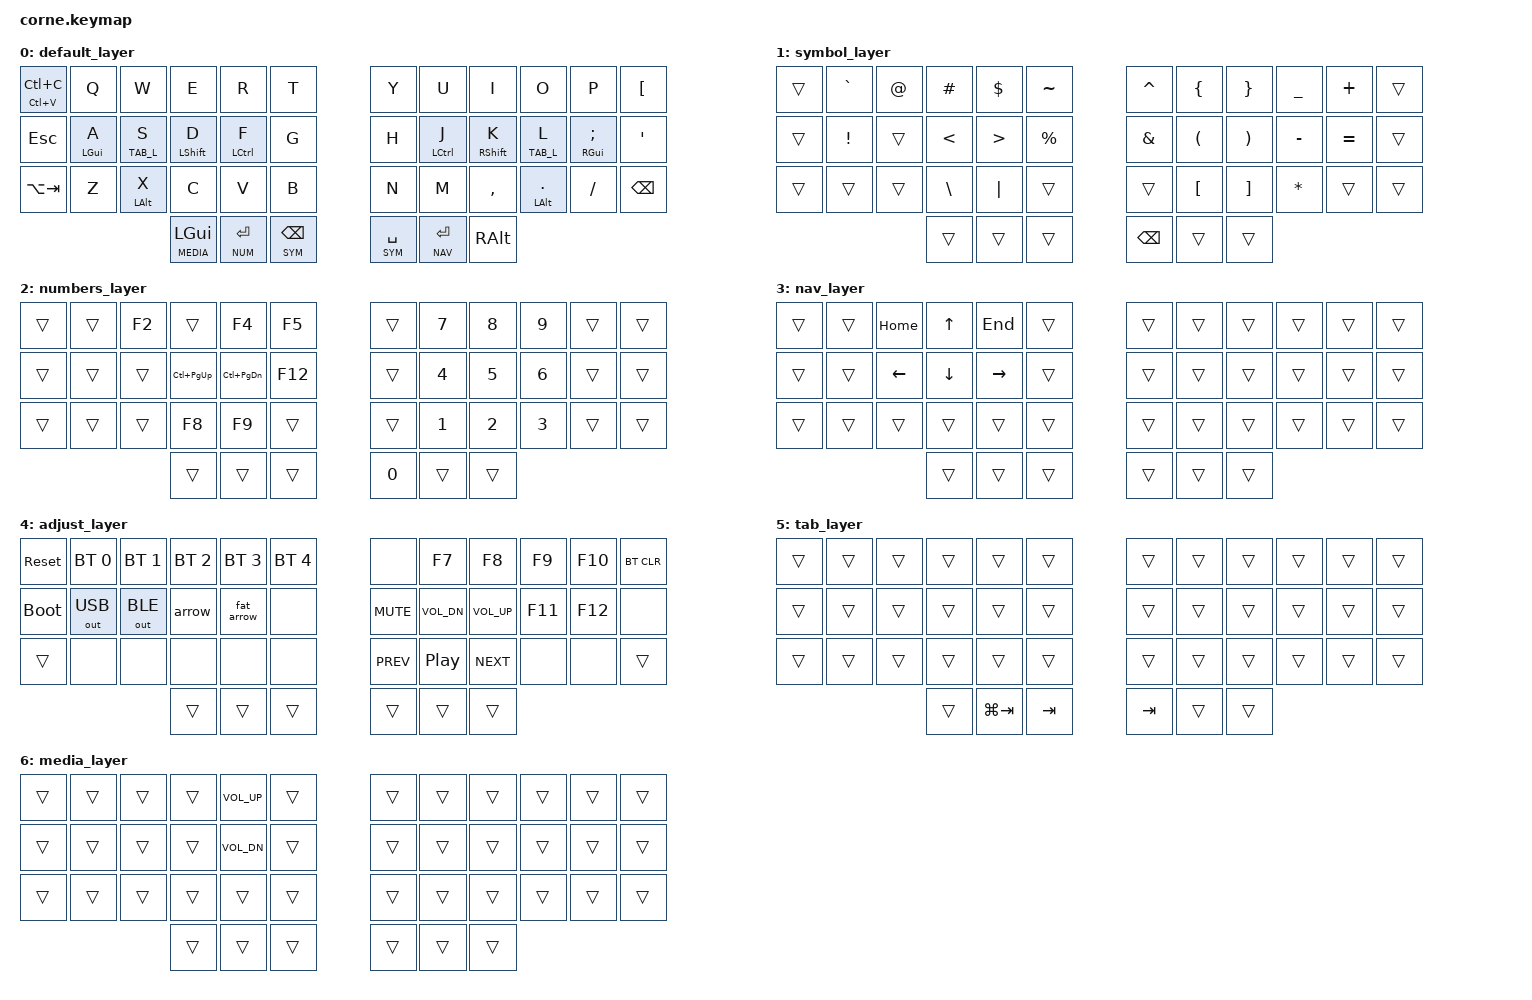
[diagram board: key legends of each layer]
/*
 * Copyright (c) 2026 Your Name
 *
 * SPDX-License-Identifier: MIT
 */

#include <behaviors.dtsi>
#include <dt-bindings/zmk/keys.h>
#include <dt-bindings/zmk/bt.h>
#include <dt-bindings/zmk/outputs.h>

// Layer definitions
#define DEF 0
#define SYM 1
#define NUM 2
#define NAV 3
#define ADJ 4
#define TAB_L 5
#define MEDIA 6

// Key positions reference (Corne, 42 keys):
//
//  0  1  2  3  4  5      6  7  8  9 10 11
// 12 13 14 15 16 17     18 19 20 21 22 23
// 24 25 26 27 28 29     30 31 32 33 34 35
//          36 37 38     39 40 41

/ {
    behaviors {
        // Left-hand home row mod: GUI / ALT / CTRL (used for non-shift)
        hml: home_row_mod_left {
            compatible = "zmk,behavior-hold-tap";
            #binding-cells = <2>;
            tapping-term-ms = <280>;
            quick-tap-ms = <175>;
            require-prior-idle-ms = <150>;
            flavor = "balanced";
            hold-trigger-key-positions = <6 7 8 9 10 11 18 19 20 21 22 23 30 31 32 33 34 35 39 40 41>;
            hold-trigger-on-release;
            bindings = <&kp>, <&kp>;
        };

        // Right-hand home row mod: CTRL / ALT / GUI (used for non-shift)
        hmr: home_row_mod_right {
            compatible = "zmk,behavior-hold-tap";
            #binding-cells = <2>;
            tapping-term-ms = <280>;
            quick-tap-ms = <175>;
            require-prior-idle-ms = <150>;
            flavor = "balanced";
            hold-trigger-key-positions = <0 1 2 3 4 5 12 13 14 15 16 17 24 25 26 27 28 29 36 37 38>;
            hold-trigger-on-release;
            bindings = <&kp>, <&kp>;
        };

        // Shift home row mod - LEFT hand (D key)
        // tap-preferred flavor + short prior-idle prevents D->S rolling misfires
        // while still allowing intentional shift+letter combos
        hmls: home_row_mod_left_shift {
            compatible = "zmk,behavior-hold-tap";
            #binding-cells = <2>;
            tapping-term-ms = <200>;
            quick-tap-ms = <175>;
            require-prior-idle-ms = <125>;
            flavor = "tap-preferred";
            hold-trigger-key-positions = <6 7 8 9 10 11 18 19 20 21 22 23 30 31 32 33 34 35 39 40 41>;
            hold-trigger-on-release;
            bindings = <&kp>, <&kp>;
        };

        // Shift home row mod - RIGHT hand (K key)
        hmrs: home_row_mod_right_shift {
            compatible = "zmk,behavior-hold-tap";
            #binding-cells = <2>;
            tapping-term-ms = <200>;
            quick-tap-ms = <175>;
            flavor = "balanced";
            hold-trigger-key-positions = <0 1 2 3 4 5 12 13 14 15 16 17 24 25 26 27 28 29 36 37 38>;
            hold-trigger-on-release;
            bindings = <&kp>, <&kp>;
        };

        // Left-hand Ctrl (F key) - extended trigger list
        // Allows same-hand shortcuts: F+W, F+T (top row), F+C, F+X (bottom row)
        // Useful for Ctrl+C, Ctrl+X, Ctrl+T, Ctrl+W shortcuts without switching hands
        hmlc: home_row_mod_left_ctrl {
            compatible = "zmk,behavior-hold-tap";
            #binding-cells = <2>;
            tapping-term-ms = <280>;
            quick-tap-ms = <175>;
            require-prior-idle-ms = <150>;
            flavor = "balanced";
            hold-trigger-key-positions = <2 5 25 26 6 7 8 9 10 11 18 19 20 21 22 23 30 31 32 33 34 35 39 40 41>;
            hold-trigger-on-release;
            bindings = <&kp>, <&kp>;
        };

        // Copy/Paste mod-tap: tap = Ctrl+C, hold = Ctrl+V
        cv: copy_paste {
            compatible = "zmk,behavior-hold-tap";
            #binding-cells = <2>;
            tapping-term-ms = <200>;
            quick-tap-ms = <175>;
            flavor = "tap-preferred";
            bindings = <&kp>, <&kp>;
        };
    };

    macros {
        arrow: arrow_macro {
            compatible = "zmk,behavior-macro";
            #binding-cells = <0>;
            wait-ms = <5>;
            tap-ms = <5>;
            bindings = <&kp MINUS &kp GT>;
        };

        fat_arrow: fat_arrow_macro {
            compatible = "zmk,behavior-macro";
            #binding-cells = <0>;
            wait-ms = <5>;
            tap-ms = <5>;
            bindings = <&kp EQUAL &kp GT>;
        };
    };

    combos {
        compatible = "zmk,combos";

        // ----- Base-layer combos -----

        // F + S -> Ctrl+S (save). Combo timing prevents misfires on natural F-S rolls.
        combo_ctrl_s {
            timeout-ms = <30>;
            key-positions = <13 16>; // S + F
            bindings = <&kp LC(S)>;
            layers = <DEF>;
        };
        combo_esc {
            timeout-ms = <40>;
            key-positions = <13 14>; // A + S
            bindings = <&kp ESC>;
            layers = <DEF>;
        };

        combo_tab {
            timeout-ms = <40>;
            key-positions = <14 15>; // S + D
            bindings = <&kp TAB>;
            layers = <DEF>;
        };

        combo_lparen {
            timeout-ms = <50>;
            key-positions = <2 3>; // E + R
            bindings = <&kp LPAR>;
            layers = <DEF>;
        };

        combo_rparen {
            timeout-ms = <50>;
            key-positions = <8 9>; // U + I
            bindings = <&kp RPAR>;
            layers = <DEF>;
        };

        // Hold both center thumbs -> Adjust layer
        combo_adjust {
            timeout-ms = <50>;
            key-positions = <37 40>;
            bindings = <&mo ADJ>;
        };
    };

    keymap {
        compatible = "zmk,keymap";

        // Base layer
        // Left thumbs: GUI | LT(NUM) tap=Enter | LT(SYM) tap=Bspc
        // Right thumbs: LT(SYM) tap=Space | LT(NAV) tap=Enter | Alt
        default_layer {
            bindings = <
&cv LC(V) LC(C)  &kp Q       &kp W       &kp E        &kp R        &kp T               &kp Y    &kp U        &kp I        &kp O       &kp P          &kp LBKT
&kp ESC          &hml LGUI A &lt TAB_L S &hmls LSHFT D &hmlc LCTRL F &kp G               &kp H    &hmr LCTRL J &hmrs RSHFT K &lt TAB_L L &hmr RGUI SEMI &kp SQT
&kp LA(TAB)      &kp Z       &hml LALT X  &kp C        &kp V        &kp B               &kp N    &kp M        &kp COMMA    &hmr LALT DOT &kp FSLH       &kp BSPC
                                         &lt MEDIA LGUI &lt NUM RET  &lt SYM BSPC        &lt SYM SPACE  &lt NAV RET  &kp RALT
            >;
        };

        // Symbol layer
        symbol_layer {
            bindings = <
&trans  &kp GRAVE  &kp AT     &kp HASH  &kp DLLR  &kp TILDE        &kp CARET &kp LBRC  &kp RBRC  &kp UNDER &kp PLUS  &trans
&trans  &kp EXCL   &trans     &kp LT    &kp GT    &kp PRCNT        &kp AMPS  &kp LPAR  &kp RPAR  &kp MINUS &kp EQUAL &trans
&trans  &trans     &trans     &kp BSLH  &kp PIPE  &trans           &trans    &kp LBKT  &kp RBKT  &kp ASTRK &trans    &trans
                              &trans    &trans    &trans           &kp BSPC  &trans    &trans
            >;
        };

        // Numbers layer
        // - PgUp on D, PgDn on F
        // - Numpad on right hand: 789/456/123, 0 on right inner thumb
        // - F-keys sprinkled on left: F2 on W, F4 on R, F12 on G, F8 on C, F9 on V
        numbers_layer {
            bindings = <
&trans  &trans  &kp F2  &trans     &kp F4     &kp F5       &trans  &kp N7  &kp N8  &kp N9  &trans  &trans
&trans  &trans  &trans  &kp LC(PG_UP) &kp LC(PG_DN) &kp F12      &trans  &kp N4  &kp N5  &kp N6  &trans  &trans
&trans  &trans  &trans  &kp F8     &kp F9     &trans       &trans  &kp N1  &kp N2  &kp N3  &trans  &trans
                        &trans     &trans     &trans       &kp N0  &trans  &trans
            >;
        };

        // Navigation layer
        // ESDF arrow cluster: E=Up, S=Left, D=Down, F=Right
        // Home on W, End on R
        nav_layer {
            bindings = <
&trans  &trans  &kp HOME  &kp UP    &kp END    &trans       &trans  &trans  &trans  &trans  &trans  &trans
&trans  &trans  &kp LEFT  &kp DOWN  &kp RIGHT  &trans       &trans  &trans  &trans  &trans  &trans  &trans
&trans  &trans  &trans    &trans    &trans     &trans       &trans  &trans  &trans  &trans  &trans  &trans
                          &trans    &trans     &trans       &trans  &trans  &trans
            >;
        };

        // Adjust layer (combo: both center thumbs)
        adjust_layer {
            bindings = <
&sys_reset  &bt BT_SEL 0 &bt BT_SEL 1 &bt BT_SEL 2 &bt BT_SEL 3 &bt BT_SEL 4   &none       &kp F7       &kp F8       &kp F9    &kp F10  &bt BT_CLR
&bootloader &out OUT_USB &out OUT_BLE &arrow       &fat_arrow   &none          &kp C_MUTE  &kp C_VOL_DN &kp C_VOL_UP &kp F11   &kp F12  &none
&trans      &none        &none        &none        &none        &none          &kp C_PREV  &kp C_PP     &kp C_NEXT   &none     &none    &trans
                                      &trans       &trans       &trans         &trans      &trans       &trans
            >;
        };

        // Tab layer (held via X or DOT)
        // Middle thumbs send Tab when this layer is active
        tab_layer {
            bindings = <
&trans  &trans  &trans  &trans  &trans  &trans       &trans  &trans  &trans  &trans  &trans  &trans
&trans  &trans  &trans  &trans  &trans  &trans       &trans  &trans  &trans  &trans  &trans  &trans
&trans  &trans  &trans  &trans  &trans  &trans       &trans  &trans  &trans  &trans  &trans  &trans
                        &trans  &kp LG(TAB) &kp TAB  &kp TAB &trans  &trans
            >;
        };

        // Media layer (held via left outer thumb)
        // R = Volume Up, F = Volume Down
        media_layer {
            bindings = <
&trans  &trans  &trans  &trans     &kp C_VOL_UP &trans       &trans  &trans  &trans  &trans  &trans  &trans
&trans  &trans  &trans  &trans     &kp C_VOL_DN &trans       &trans  &trans  &trans  &trans  &trans  &trans
&trans  &trans  &trans  &trans     &trans       &trans       &trans  &trans  &trans  &trans  &trans  &trans
                        &trans     &trans       &trans       &trans  &trans  &trans
            >;
        };
    };
};
